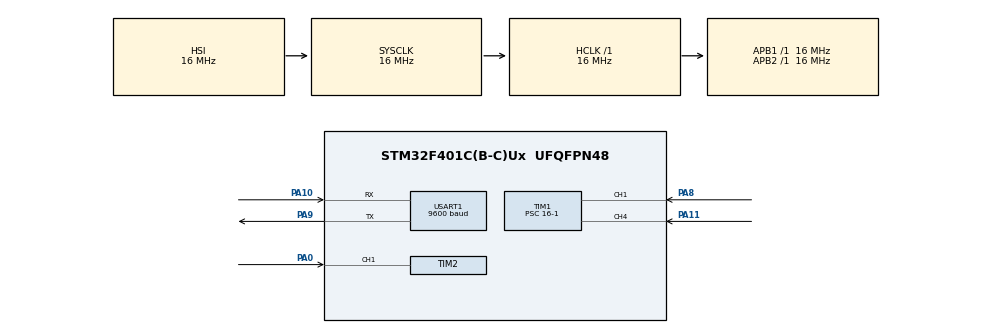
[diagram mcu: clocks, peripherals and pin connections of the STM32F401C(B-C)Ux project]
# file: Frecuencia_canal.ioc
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Mcu.Family=STM32F4
Mcu.Name=STM32F401C(B-C)Ux
Mcu.Package=UFQFPN48
NVIC.PriorityGroup=NVIC_PRIORITYGROUP_4
NVIC.TIM1_CC_IRQn=true\:1\:0\:true\:false\:true\:true\:true\:true
NVIC.TIM2_IRQn=true\:1\:0\:true\:false\:true\:true\:true\:true
PA0-WKUP.Signal=S_TIM2_CH1_ETR
PA10.Mode=Asynchronous
PA10.Signal=USART1_RX
PA11.Signal=S_TIM1_CH4
PA8.Signal=S_TIM1_CH1
PA9.Mode=Asynchronous
PA9.Signal=USART1_TX
ProjectManager.HeapSize=0x200
ProjectManager.StackSize=0x400
ProjectManager.TargetToolchain=STM32CubeIDE
RCC.AHBFreq_Value=16000000
RCC.APB1Freq_Value=16000000
RCC.APB2Freq_Value=16000000
RCC.CortexFreq_Value=16000000
RCC.HSE_VALUE=25000000
RCC.HSI_VALUE=16000000
RCC.LSE_VALUE=32768
RCC.SYSCLKFreq_VALUE=16000000
RCC.VCOOutputFreq_Value=192000000
SH.S_TIM1_CH1.0=TIM1_CH1,Input_Capture1_from_TI1
SH.S_TIM1_CH4.0=TIM1_CH4,Input_Capture4_from_TI4
SH.S_TIM2_CH1_ETR.0=TIM2_CH1,Input_Capture1_from_TI1
TIM1.Channel-Input_Capture1_from_TI1=TIM_CHANNEL_1
TIM1.Channel-Input_Capture4_from_TI4=TIM_CHANNEL_4
TIM1.Prescaler=16-1
TIM2.Channel-Input_Capture1_from_TI1=TIM_CHANNEL_1
TIM2.Prescaler=16-1
USART1.BaudRate=9600
USART1.VirtualMode=VM_ASYNC
VP_TIM1_VS_ClockSourceINT.Mode=Internal
board=custom

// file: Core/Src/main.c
/* USER CODE BEGIN Header */
/**
  ******************************************************************************
  * @file           : main.c
  * @brief          : Main program body
  ******************************************************************************
  * @attention
  *
  * Copyright (c) 2024 STMicroelectronics.
  * All rights reserved.
  *
  * This software is licensed under terms that can be found in the LICENSE file
  * in the root directory of this software component.
  * If no LICENSE file comes with this software, it is provided AS-IS.
  *
  ******************************************************************************
  */
/* USER CODE END Header */
#include "main.h"

/* USER CODE BEGIN Includes */
#include "Frecuencia.h"
#include "uart.h"

#include "stdio.h"
#include "stdlib.h"
#include "stdint.h"
#include "string.h"

/* USER CODE END Includes */

TIM_HandleTypeDef htim1;
TIM_HandleTypeDef htim2;

UART_HandleTypeDef huart1;

/* USER CODE BEGIN PV */
char texto[100];
float frecuencia1,frecuencia2,frecuencia3;
/* USER CODE END PV */

void SystemClock_Config(void);
static void MX_GPIO_Init(void);
static void MX_TIM1_Init(void);
static void MX_TIM2_Init(void);
static void MX_USART1_UART_Init(void);

int main(void)
{

  /* MCU Configuration--------------------------------------------------------*/

  /* Reset of all peripherals, Initializes the Flash interface and the Systick. */
  HAL_Init();

  /* Configure the system clock */
  SystemClock_Config();

  /* Initialize all configured peripherals */
  MX_GPIO_Init();
  MX_TIM1_Init();
  MX_TIM2_Init();
  MX_USART1_UART_Init();
  /* USER CODE BEGIN 2 */
  Frec_init(&FREC1);
  Frec_init(&FREC2);
  Frec_init(&FREC3);

  /* USER CODE END 2 */

  /* Infinite loop */
  /* USER CODE BEGIN WHILE */
  while (1)
  {
	  if (FREC1.frec_leida==0) frecuencia1=0;
	  	else
	  	frecuencia1=FREC1.frec_muestreo/FREC1.frec_leida;
	  //coloca la leida en cero apra otra lectura
	  	FREC1.frec_leida=0;

	  	 //limpia las frecuecnia usadas;
	  	   sprintf(texto,"FREC1=%.1f\r\n",frecuencia1);
	  	  uartx_write_text(&huart1, texto);

	  	  if (FREC2.frec_leida==0) frecuencia2=0;
	  		  	else
	  		  	frecuencia2=FREC2.frec_muestreo/FREC2.frec_leida;
	  		  //coloca la leida en cero apra otra lectura
	  		  	FREC2.frec_leida=0;

	  		  	 //limpia las frecuecnia usadas;
	  		  	   sprintf(texto,"FREC2=%.1f\r\n",frecuencia2);
	  		  	  uartx_write_text(&huart1, texto);

	  			  if (FREC3.frec_leida==0) frecuencia3=0;
	  			  		  	else
	  			  		  	frecuencia3=FREC3.frec_muestreo/FREC3.frec_leida;
	  			  		  //coloca la leida en cero apra otra lectura
	  			  		  	FREC3.frec_leida=0;

	  			  		  	 //limpia las frecuecnia usadas;
	  			  		  	   sprintf(texto,"FREC3=%.1f\r\n",frecuencia3);
	  			  		  	  uartx_write_text(&huart1, texto);

	  		  	uartx_write_text(&huart1, "\r\n");

	  	  HAL_Delay(100);

    /* USER CODE END WHILE */

  }
}

void SystemClock_Config(void)
{
  RCC_OscInitTypeDef RCC_OscInitStruct = {0};
  RCC_ClkInitTypeDef RCC_ClkInitStruct = {0};

  /** Configure the main internal regulator output voltage
  */
  __HAL_RCC_PWR_CLK_ENABLE();
  __HAL_PWR_VOLTAGESCALING_CONFIG(PWR_REGULATOR_VOLTAGE_SCALE2);

  /** Initializes the RCC Oscillators according to the specified parameters
  * in the RCC_OscInitTypeDef structure.
  */
  RCC_OscInitStruct.OscillatorType = RCC_OSCILLATORTYPE_HSI;
  RCC_OscInitStruct.HSIState = RCC_HSI_ON;
  RCC_OscInitStruct.HSICalibrationValue = RCC_HSICALIBRATION_DEFAULT;
  RCC_OscInitStruct.PLL.PLLState = RCC_PLL_NONE;
  if (HAL_RCC_OscConfig(&RCC_OscInitStruct) != HAL_OK)
  {
    Error_Handler();
  }

  /** Initializes the CPU, AHB and APB buses clocks
  */
  RCC_ClkInitStruct.ClockType = RCC_CLOCKTYPE_HCLK|RCC_CLOCKTYPE_SYSCLK
                              |RCC_CLOCKTYPE_PCLK1|RCC_CLOCKTYPE_PCLK2;
  RCC_ClkInitStruct.SYSCLKSource = RCC_SYSCLKSOURCE_HSI;
  RCC_ClkInitStruct.AHBCLKDivider = RCC_SYSCLK_DIV1;
  RCC_ClkInitStruct.APB1CLKDivider = RCC_HCLK_DIV1;
  RCC_ClkInitStruct.APB2CLKDivider = RCC_HCLK_DIV1;

  if (HAL_RCC_ClockConfig(&RCC_ClkInitStruct, FLASH_LATENCY_0) != HAL_OK)
  {
    Error_Handler();
  }
}

static void MX_TIM1_Init(void)
{

  TIM_ClockConfigTypeDef sClockSourceConfig = {0};
  TIM_MasterConfigTypeDef sMasterConfig = {0};
  TIM_IC_InitTypeDef sConfigIC = {0};

  htim1.Instance = TIM1;
  htim1.Init.Prescaler = 16-1;
  htim1.Init.CounterMode = TIM_COUNTERMODE_UP;
  htim1.Init.Period = 65535;
  htim1.Init.ClockDivision = TIM_CLOCKDIVISION_DIV1;
  htim1.Init.RepetitionCounter = 0;
  htim1.Init.AutoReloadPreload = TIM_AUTORELOAD_PRELOAD_DISABLE;
  if (HAL_TIM_Base_Init(&htim1) != HAL_OK)
  {
    Error_Handler();
  }
  sClockSourceConfig.ClockSource = TIM_CLOCKSOURCE_INTERNAL;
  if (HAL_TIM_ConfigClockSource(&htim1, &sClockSourceConfig) != HAL_OK)
  {
    Error_Handler();
  }
  if (HAL_TIM_IC_Init(&htim1) != HAL_OK)
  {
    Error_Handler();
  }
  sMasterConfig.MasterOutputTrigger = TIM_TRGO_RESET;
  sMasterConfig.MasterSlaveMode = TIM_MASTERSLAVEMODE_DISABLE;
  if (HAL_TIMEx_MasterConfigSynchronization(&htim1, &sMasterConfig) != HAL_OK)
  {
    Error_Handler();
  }
  sConfigIC.ICPolarity = TIM_INPUTCHANNELPOLARITY_RISING;
  sConfigIC.ICSelection = TIM_ICSELECTION_DIRECTTI;
  sConfigIC.ICPrescaler = TIM_ICPSC_DIV1;
  sConfigIC.ICFilter = 0;
  if (HAL_TIM_IC_ConfigChannel(&htim1, &sConfigIC, TIM_CHANNEL_1) != HAL_OK)
  {
    Error_Handler();
  }
  if (HAL_TIM_IC_ConfigChannel(&htim1, &sConfigIC, TIM_CHANNEL_4) != HAL_OK)
  {
    Error_Handler();
  }

}

static void MX_TIM2_Init(void)
{

  TIM_MasterConfigTypeDef sMasterConfig = {0};
  TIM_IC_InitTypeDef sConfigIC = {0};

  htim2.Instance = TIM2;
  htim2.Init.Prescaler = 16-1;
  htim2.Init.CounterMode = TIM_COUNTERMODE_UP;
  htim2.Init.Period = 4294967295;
  htim2.Init.ClockDivision = TIM_CLOCKDIVISION_DIV1;
  htim2.Init.AutoReloadPreload = TIM_AUTORELOAD_PRELOAD_DISABLE;
  if (HAL_TIM_IC_Init(&htim2) != HAL_OK)
  {
    Error_Handler();
  }
  sMasterConfig.MasterOutputTrigger = TIM_TRGO_RESET;
  sMasterConfig.MasterSlaveMode = TIM_MASTERSLAVEMODE_DISABLE;
  if (HAL_TIMEx_MasterConfigSynchronization(&htim2, &sMasterConfig) != HAL_OK)
  {
    Error_Handler();
  }
  sConfigIC.ICPolarity = TIM_INPUTCHANNELPOLARITY_RISING;
  sConfigIC.ICSelection = TIM_ICSELECTION_DIRECTTI;
  sConfigIC.ICPrescaler = TIM_ICPSC_DIV1;
  sConfigIC.ICFilter = 0;
  if (HAL_TIM_IC_ConfigChannel(&htim2, &sConfigIC, TIM_CHANNEL_1) != HAL_OK)
  {
    Error_Handler();
  }

}

static void MX_USART1_UART_Init(void)
{

  huart1.Instance = USART1;
  huart1.Init.BaudRate = 9600;
  huart1.Init.WordLength = UART_WORDLENGTH_8B;
  huart1.Init.StopBits = UART_STOPBITS_1;
  huart1.Init.Parity = UART_PARITY_NONE;
  huart1.Init.Mode = UART_MODE_TX_RX;
  huart1.Init.HwFlowCtl = UART_HWCONTROL_NONE;
  huart1.Init.OverSampling = UART_OVERSAMPLING_16;
  if (HAL_UART_Init(&huart1) != HAL_OK)
  {
    Error_Handler();
  }

}

static void MX_GPIO_Init(void)
{

  /* GPIO Ports Clock Enable */
  __HAL_RCC_GPIOA_CLK_ENABLE();

}

void Error_Handler(void)
{
  __disable_irq();
  while (1)
  {
  }
}
